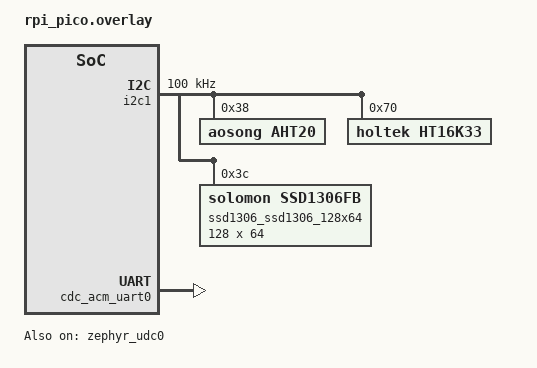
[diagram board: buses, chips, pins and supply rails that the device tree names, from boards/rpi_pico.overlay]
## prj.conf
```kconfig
#
# Copyright (c) 2025 Sergey Golovin <golovinengineer@icloud.com>
#
# SPDX-License-Identifier: Apache-2.0
#

CONFIG_SENSOR=y
CONFIG_SENSOR_SHELL=y
CONFIG_CBPRINTF_FP_SUPPORT=y
CONFIG_GPIO=y
CONFIG_I2C=y
CONFIG_LOG=y
CONFIG_SHELL=y
CONFIG_I2C_SHELL=y
CONFIG_LED=y
CONFIG_LED_SHELL=y

# CONFIG_LV_Z_MEM_POOL_SIZE=16384
CONFIG_MAIN_STACK_SIZE=2048
CONFIG_HEAP_MEM_POOL_SIZE=16384

CONFIG_DISPLAY=y
CONFIG_DISPLAY_LOG_LEVEL_ERR=y

CONFIG_CHARACTER_FRAMEBUFFER=y
CONFIG_CHARACTER_FRAMEBUFFER_SHELL=y

# CONFIG_LVGL=y
# CONFIG_LV_Z_SHELL=y
# CONFIG_LV_Z_AUTO_INIT=y
# CONFIG_LV_MEM_CUSTOM=y
# CONFIG_LV_USE_LOG=y
# CONFIG_LV_USE_LABEL=y

CONFIG_USB_DEVICE_STACK_NEXT=y
CONFIG_CDC_ACM_SERIAL_INITIALIZE_AT_BOOT=y
CONFIG_CDC_ACM_SERIAL_PID=0x0004
CONFIG_CDC_ACM_SERIAL_PRODUCT_STRING="USBD console sample"
CONFIG_USBD_SHELL=y
CONFIG_USBD_LOOPBACK_CLASS=y
CONFIG_UDC_BUF_POOL_SIZE=4096

CONFIG_USBD_LOG_LEVEL_WRN=y
CONFIG_UDC_DRIVER_LOG_LEVEL_WRN=y
CONFIG_REBOOT=y
```

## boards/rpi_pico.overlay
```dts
/*
 * Copyright (c) 2025 Sergey Golovin <golovinengineer@icloud.com>
 *
 * SPDX-License-Identifier: Apache-2.0
 */

/ {
	aliases {
		dht0 = &aht20;
	};
    chosen {
        zephyr,console = &cdc_acm_uart0;
        zephyr,shell-uart = &cdc_acm_uart0;
		zephyr,uart-mcumgr = &cdc_acm_uart0; // Optional, for MCUboot or DFU
        zephyr,display = &ssd1306_ssd1306_128x64;
	};
};

 &i2c1 {
	status = "okay";
    clock-frequency = <I2C_BITRATE_STANDARD>;

	aht20: aht20@38 {
		compatible = "aosong,aht20";
		reg = <0x38>;
		#address-cells = <1>;
		#size-cells = <0>;
	};

    ht16k33@70 {
		compatible = "holtek,ht16k33";
		reg = <0x70>;
		/* Uncomment to use IRQ instead of polling: */
		/* irq-gpios = <&gpio1 8 (GPIO_PULL_UP | GPIO_ACTIVE_LOW)>; */

		kscan-input {
			compatible = "zephyr,kscan-input";
		};
	};
    ssd1306_ssd1306_128x64: ssd1306@3c {
		compatible = "solomon,ssd1306fb";
		reg = <0x3c>;
		width = <128>;
		height = <64>;
		segment-offset = <0>;
		page-offset = <0>;
		display-offset = <0>;
		multiplex-ratio = <63>;
		segment-remap;
		com-invdir;
		prechargep = <0x62>;
	};
};

&zephyr_udc0 {
    status = "okay";
	cdc_acm_uart0: cdc_acm_uart0 {
		compatible = "zephyr,cdc-acm-uart";
		label = "Zephyr USB CDC-ACM";
	};
};
```

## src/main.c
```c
/*
 * Copyright (c) 2025 Sergey Golovin <golovinengineer@icloud.com>
 *
 * SPDX-License-Identifier: Apache-2.0
 */

#include <stdint.h>
#include <stdio.h>
/*#include <stdlib.h>*/

#include <zephyr/device.h>
#include <zephyr/drivers/display.h>
#include <zephyr/drivers/gpio.h>
#include <zephyr/drivers/led.h>
#include <zephyr/drivers/sensor.h>
#include <zephyr/kernel.h>
#include <zephyr/logging/log.h>
LOG_MODULE_REGISTER(main, LOG_LEVEL_DBG);
#include <string.h>
#include <zephyr/display/cfb.h>
#include "cfbv_3048.h"

/* 1000 msec = 1 sec */
#define SLEEP_TIME_MS      500
#define PRINT_TEMP_N_HUMID BIT(0)

/* The devicetree node identifier for the "led0" alias. */
#define LED0_NODE DT_ALIAS(led0)

static struct k_timer print_timer;
static struct k_event display_event;

/*
 * A build error on this line means your board is unsupported.
 * See the sample documentation for information on how to fix this.
 */
static const struct gpio_dt_spec led = GPIO_DT_SPEC_GET(LED0_NODE, gpios);
static const struct device *const aht20 = DEVICE_DT_GET_ONE(aosong_aht20);
static const struct device *const seg_display
    = DEVICE_DT_GET(DT_COMPAT_GET_ANY_STATUS_OKAY(holtek_ht16k33));

static const uint8_t seg_display_font_table[] = {

    0b00111111,  // 0
    0b00000110,  // 1
    0b01011011,  // 2
    0b01001111,  // 3
    0b01100110,  // 4
    0b01101101,  // 5
    0b01111101,  // 6
    0b00000111,  // 7
    0b01111111,  // 8
    0b01101111,  // 9
    0b01000000,  // -
    0b10000000,  // .
};

static int seg_display_show(char *str) {
    int err = 0;
    uint8_t digit_cursor = 5 - strlen(str);

    led_set_brightness(seg_display, 0, 25);

    for (int i = 0; i < strlen(str); i++) {
        switch (str[i]) {
        case '.': {
            switch (digit_cursor) {
            case 1:
                led_on(seg_display, 7);
                break;
            case 2:
                led_on(seg_display, 23);
                break;
            case 3:
                led_on(seg_display, 55);
                break;
            case 4:
                led_on(seg_display, 71);
                break;
            default:
                break;
            }
            break;
        }
        case '-': {
            for (int seg = 0; seg < 7; seg++) {
                if (seg_display_font_table[10] & BIT(seg)) {
                    led_on(seg_display, (digit_cursor < 2) ? (digit_cursor * 16 + seg)
                                                           : ((digit_cursor + 1) * 16 + seg));
                } else {
                    led_off(seg_display, (digit_cursor < 2) ? (digit_cursor * 16 + seg)
                                                            : ((digit_cursor + 1) * 16 + seg));
                }
            }
            digit_cursor++;
            break;
        }
        case '0':
        case '1':
        case '2':
        case '3':
        case '4':
        case '5':
        case '6':
        case '7':
        case '8':
        case '9': {
            for (int seg = 0; seg < 7; seg++) {
                if (seg_display_font_table[str[i] - 0x30] & BIT(seg)) {
                    led_on(seg_display, (digit_cursor < 2) ? (digit_cursor * 16 + seg)
                                                           : ((digit_cursor + 1) * 16 + seg));
                } else {
                    led_off(seg_display, (digit_cursor < 2) ? (digit_cursor * 16 + seg)
                                                            : ((digit_cursor + 1) * 16 + seg));
                }
            }
            digit_cursor++;
            break;
        }
        default: {
            break;
        }
        }
    }
    return err;
}

void print_timer_expire(struct k_timer *timer_id) {
    k_event_post(&display_event, PRINT_TEMP_N_HUMID);
}

int main(void) {
    int err;
    bool led_state = true;
    uint16_t x_res;
    uint16_t y_res;
    uint16_t rows;
    uint8_t ppt;
    uint8_t font_width;
    uint8_t font_height;

    const struct device *display_dev;

    display_dev = DEVICE_DT_GET(DT_CHOSEN(zephyr_display));
    if (!device_is_ready(display_dev)) {
        LOG_ERR("Device not ready, aborting test");
    }

    if (!device_is_ready(seg_display)) {
        LOG_ERR("device %s is not ready", seg_display->name);
    }

    if (!device_is_ready(aht20)) {
        LOG_ERR("device %s is not ready", aht20->name);
    }

    if (!gpio_is_ready_dt(&led)) {
        LOG_ERR("led gpio is not ready");
    }

    err = gpio_pin_configure_dt(&led, GPIO_OUTPUT_ACTIVE);
    if (err < 0) {
        LOG_ERR("led gpio configuration is failed");
    }

    if (display_set_pixel_format(display_dev, PIXEL_FORMAT_MONO10) != 0) {
        if (display_set_pixel_format(display_dev, PIXEL_FORMAT_MONO01) != 0) {
            LOG_ERR("Failed to set required pixel format");
            return 0;
        }
    }

    printf("Initialized %s\n", display_dev->name);

    if (cfb_framebuffer_init(display_dev)) {
        LOG_ERR("Framebuffer initialization failed!");
        return 0;
    }

    cfb_framebuffer_clear(display_dev, true);

    display_blanking_off(display_dev);

    x_res = cfb_get_display_parameter(display_dev, CFB_DISPLAY_WIDTH);
    y_res = cfb_get_display_parameter(display_dev, CFB_DISPLAY_HEIGHT);
    rows = cfb_get_display_parameter(display_dev, CFB_DISPLAY_ROWS);
    ppt = cfb_get_display_parameter(display_dev, CFB_DISPLAY_PPT);

    for (int idx = 0; idx < 42; idx++) {
        if (cfb_get_font_size(display_dev, idx, &font_width, &font_height)) {
            break;
        }
        cfb_framebuffer_set_font(display_dev, idx);
        LOG_INF("font width %d, font height %d", font_width, font_height);
    }
    LOG_INF("x_res %d, y_res %d, ppt %d, rows %d, cols %d", x_res, y_res, ppt, rows,
            cfb_get_display_parameter(display_dev, CFB_DISPLAY_COLS));

    cfb_framebuffer_set_font(display_dev, 0);

    err = display_set_contrast(display_dev, 255);
    if (err) {
        LOG_ERR("set contrast: %d", err);
    }

    cfb_set_kerning(display_dev, -2);

    k_timer_init(&print_timer, print_timer_expire, NULL);
    k_timer_start(&print_timer, K_NO_WAIT, K_MINUTES(1));
    while (1) {

        struct sensor_value temp, hum;

        err = sensor_sample_fetch(aht20);
        if (err == 0) {
            err = sensor_channel_get(aht20, SENSOR_CHAN_AMBIENT_TEMP, &temp);
        }
        if (err == 0) {
            err = sensor_channel_get(aht20, SENSOR_CHAN_HUMIDITY, &hum);
        }
        if (err != 0) {
            LOG_ERR("aht20 sample fetch is failed: %d", err);
        }

        char temp_str[5];
        char oled_str[6];
        snprintf(temp_str, 5, "%3.1f", sensor_value_to_double(&temp));
        snprintf(oled_str, 6, "%3.1fC", sensor_value_to_double(&temp));
        seg_display_show(temp_str);

        err = gpio_pin_toggle_dt(&led);

        if (err < 0) {
            LOG_ERR("led gpio toggle is failed");
        }

        led_state = !led_state;

        cfb_framebuffer_clear(display_dev, false);
        if (cfb_print(display_dev, oled_str, 0, 12)) {
            LOG_ERR("Failed to print a string");
            continue;
        }

        cfb_framebuffer_finalize(display_dev);
        uint32_t events = k_event_wait(&display_event, BIT(0), false, K_MSEC(500));
        if (events) {
            if (events & BIT(0)) {
                LOG_INF("%3.1f°C, %3.1f%%", sensor_value_to_double(&temp),
                        sensor_value_to_double(&hum));
                k_event_clear(&display_event, BIT(0));
            }
        }
    }
    return 0;
}
```
